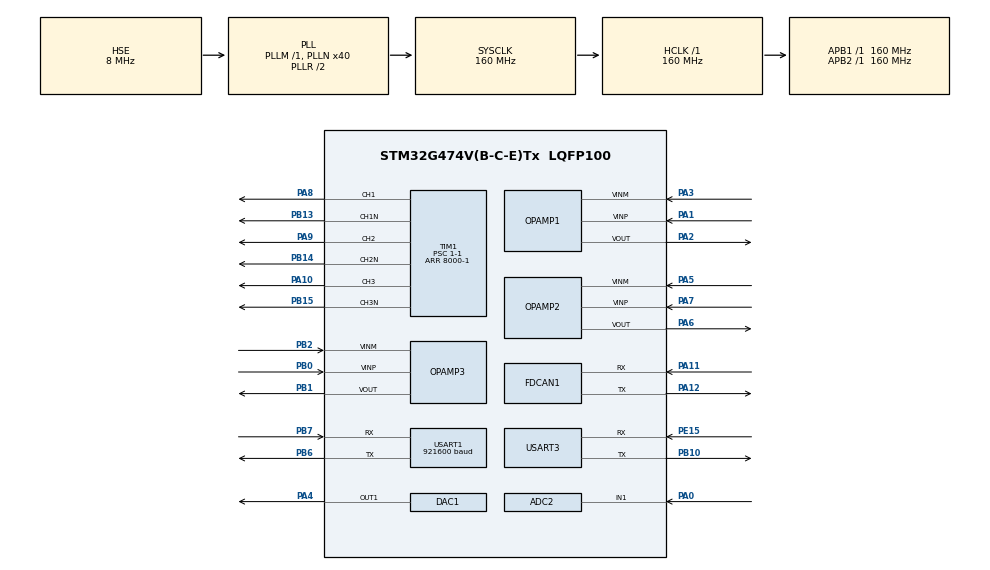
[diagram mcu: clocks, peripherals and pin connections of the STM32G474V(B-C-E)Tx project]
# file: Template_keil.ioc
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ADC1.Channel-0\#ChannelRegularConversion=ADC_CHANNEL_3
ADC1.ClockPrescaler=ADC_CLOCK_ASYNC_DIV4
ADC1.EnableInjectedConversion=ENABLE
ADC1.ExternalTrigInjecConv=ADC_EXTERNALTRIGINJEC_T1_CC4
ADC1.InjNumberOfConversion=2
ADC1.InjectedChannel-1\#ChannelInjectedConversion=ADC_CHANNEL_3
ADC1.InjectedChannel-2\#ChannelInjectedConversion=ADC_CHANNEL_12
ADC1.InjectedOffsetNumber-1\#ChannelInjectedConversion=ADC_OFFSET_NONE
ADC1.InjectedOffsetNumber-2\#ChannelInjectedConversion=ADC_OFFSET_NONE
ADC1.InjectedRank-1\#ChannelInjectedConversion=1
ADC1.InjectedRank-2\#ChannelInjectedConversion=2
ADC1.InjectedSamplingTime-1\#ChannelInjectedConversion=ADC_SAMPLETIME_6CYCLES_5
ADC1.InjectedSamplingTime-2\#ChannelInjectedConversion=ADC_SAMPLETIME_6CYCLES_5
ADC1.NbrOfConversionFlag=1
ADC1.OffsetNumber-0\#ChannelRegularConversion=ADC_OFFSET_NONE
ADC1.Rank-0\#ChannelRegularConversion=1
ADC1.SamplingTime-0\#ChannelRegularConversion=ADC_SAMPLETIME_2CYCLES_5
ADC1.master=1
ADC2.Channel-0\#ChannelRegularConversion=ADC_CHANNEL_1
ADC2.ClockPrescaler=ADC_CLOCK_ASYNC_DIV4
ADC2.EnableInjectedConversion=ENABLE
ADC2.ExternalTrigInjecConv=ADC_EXTERNALTRIGINJEC_T1_CC4
ADC2.InjNumberOfConversion=1
ADC2.InjectedChannel-1\#ChannelInjectedConversion=ADC_CHANNEL_3
ADC2.InjectedOffsetNumber-1\#ChannelInjectedConversion=ADC_OFFSET_NONE
ADC2.InjectedRank-1\#ChannelInjectedConversion=1
ADC2.InjectedSamplingTime-1\#ChannelInjectedConversion=ADC_SAMPLETIME_6CYCLES_5
ADC2.NbrOfConversionFlag=1
ADC2.OffsetNumber-0\#ChannelRegularConversion=ADC_OFFSET_NONE
ADC2.Rank-0\#ChannelRegularConversion=1
ADC2.SamplingTime-0\#ChannelRegularConversion=ADC_SAMPLETIME_2CYCLES_5
COMP1.TriggerMode=COMP_TRIGGERMODE_IT_RISING
Dma.Request0=USART1_TX
Dma.USART1_TX.0.Direction=DMA_MEMORY_TO_PERIPH
Dma.USART1_TX.0.EventEnable=DISABLE
Dma.USART1_TX.0.Instance=DMA1_Channel1
Dma.USART1_TX.0.MemDataAlignment=DMA_MDATAALIGN_BYTE
Dma.USART1_TX.0.MemInc=DMA_MINC_ENABLE
Dma.USART1_TX.0.Mode=DMA_NORMAL
Dma.USART1_TX.0.PeriphDataAlignment=DMA_PDATAALIGN_BYTE
Dma.USART1_TX.0.PeriphInc=DMA_PINC_DISABLE
Dma.USART1_TX.0.Polarity=HAL_DMAMUX_REQ_GEN_RISING
Dma.USART1_TX.0.Priority=DMA_PRIORITY_LOW
Dma.USART1_TX.0.RequestNumber=1
Dma.USART1_TX.0.SignalID=NONE
Dma.USART1_TX.0.SyncEnable=DISABLE
Dma.USART1_TX.0.SyncPolarity=HAL_DMAMUX_SYNC_NO_EVENT
Dma.USART1_TX.0.SyncRequestNumber=1
Dma.USART1_TX.0.SyncSignalID=NONE
FDCAN1.DataPrescaler=20
FDCAN1.DataTimeSeg1=10
FDCAN1.DataTimeSeg2=5
FDCAN1.ExtFiltersNbr=1
FDCAN1.NominalPrescaler=20
FDCAN1.NominalTimeSeg1=10
FDCAN1.NominalTimeSeg2=5
FDCAN1.StdFiltersNbr=1
Mcu.Family=STM32G4
Mcu.Name=STM32G474V(B-C-E)Tx
Mcu.Package=LQFP100
NVIC.ADC1_2_IRQn=true\:0\:0\:false\:false\:true\:true\:true
NVIC.COMP1_2_3_IRQn=true\:0\:0\:false\:false\:true\:false\:true
NVIC.DMA1_Channel1_IRQn=true\:0\:0\:false\:false\:true\:false\:true
NVIC.FDCAN1_IT0_IRQn=true\:0\:0\:false\:false\:true\:true\:true
NVIC.PriorityGroup=NVIC_PRIORITYGROUP_4
NVIC.TIM1_BRK_TIM15_IRQn=true\:0\:0\:false\:false\:true\:true\:true
NVIC.TIM1_CC_IRQn=true\:0\:0\:false\:false\:true\:true\:true
NVIC.TIM1_UP_TIM16_IRQn=true\:0\:0\:false\:false\:true\:true\:true
NVIC.USART1_IRQn=true\:0\:0\:false\:false\:true\:true\:true
NVIC.USART3_IRQn=true\:0\:0\:false\:false\:true\:true\:true
PA0.Mode=IN1-Single-Ended
PA0.Signal=ADC2_IN1
PA1.Mode=Standalone
PA1.Signal=OPAMP1_VINP
PA10.Signal=S_TIM1_CH3
PA11.Mode=FDCAN_Activate
PA11.Signal=FDCAN1_RX
PA12.Mode=FDCAN_Activate
PA12.Signal=FDCAN1_TX
PA13.Mode=Serial_Wire
PA13.Signal=SYS_JTMS-SWDIO
PA14.Mode=Serial_Wire
PA14.Signal=SYS_JTCK-SWCLK
PA2.Signal=SharedAnalog_PA2
PA3.Mode=Standalone
PA3.Signal=OPAMP1_VINM
PA4.Signal=COMP_DAC11_group
PA5.Mode=Standalone
PA5.Signal=OPAMP2_VINM
PA6.Signal=SharedAnalog_PA6
PA7.Mode=Standalone
PA7.Signal=OPAMP2_VINP
PA8.Signal=S_TIM1_CH1
PA9.Signal=S_TIM1_CH2
PB0.Mode=Standalone
PB0.Signal=OPAMP3_VINP
PB1.Signal=SharedAnalog_PB1
PB10.Mode=Asynchronous
PB10.Signal=USART3_TX
PB13.Mode=PWM Generation1 CH1 CH1N
PB13.Signal=TIM1_CH1N
PB14.Mode=PWM Generation2 CH2 CH2N
PB14.Signal=TIM1_CH2N
PB15.Mode=PWM Generation3 CH3 CH3N
PB15.Signal=TIM1_CH3N
PB2.Mode=Standalone
PB2.Signal=OPAMP3_VINM
PB6.Mode=Asynchronous
PB6.Signal=USART1_TX
PB7.Mode=Asynchronous
PB7.Signal=USART1_RX
PE15.Mode=Asynchronous
PE15.Signal=USART3_RX
PF0-OSC_IN.Mode=HSE-External-Oscillator
PF0-OSC_IN.Signal=RCC_OSC_IN
PF1-OSC_OUT.Mode=HSE-External-Oscillator
PF1-OSC_OUT.Signal=RCC_OSC_OUT
ProjectManager.HeapSize=0x200
ProjectManager.StackSize=0x400
ProjectManager.TargetToolchain=MDK-ARM V5.32
RCC.ADC12Freq_Value=160000000
RCC.ADC345Freq_Value=160000000
RCC.AHBFreq_Value=160000000
RCC.APB1Freq_Value=160000000
RCC.APB1TimFreq_Value=160000000
RCC.APB2Freq_Value=160000000
RCC.APB2TimFreq_Value=160000000
RCC.CortexFreq_Value=160000000
RCC.EXTERNAL_CLOCK_VALUE=12288000
RCC.HCLKFreq_Value=160000000
RCC.HSE_VALUE=8000000
RCC.HSI48_VALUE=48000000
RCC.HSI_VALUE=16000000
RCC.LSE_VALUE=32768
RCC.PLLN=40
RCC.PLLSourceVirtual=RCC_PLLSOURCE_HSE
RCC.SYSCLKFreq_VALUE=160000000
RCC.SYSCLKSource=RCC_SYSCLKSOURCE_PLLCLK
RCC.USBFreq_Value=160000000
RCC.VCOOutputFreq_Value=320000000
SH.COMP_DAC11_group.0=DAC1_OUT1,DAC_OUT1
SH.S_TIM1_CH1.0=TIM1_CH1,PWM Generation1 CH1 CH1N
SH.S_TIM1_CH2.0=TIM1_CH2,PWM Generation2 CH2 CH2N
SH.S_TIM1_CH3.0=TIM1_CH3,PWM Generation3 CH3 CH3N
SH.SharedAnalog_PA2.0=OPAMP1_VOUT,Standalone
SH.SharedAnalog_PA2.1=ADC1_IN3,IN3-Single-Ended
SH.SharedAnalog_PA6.0=OPAMP2_VOUT,Standalone
SH.SharedAnalog_PA6.1=ADC2_IN3,IN3-Single-Ended
SH.SharedAnalog_PB1.0=OPAMP3_VOUT,Standalone
SH.SharedAnalog_PB1.1=ADC1_IN12,IN12-Single-Ended
SH.SharedAnalog_PB1.2=COMP1_INP,INP
STMicroelectronics.X-CUBE-ALGOBUILD.1.3.0.LibraryCcDSPOoLibraryJjDSPOoLibrary=true
TIM1.BreakFilter=2
TIM1.BreakState=TIM_BREAK_ENABLE
TIM1.Channel-PWM\ Generation1\ CH1\ CH1N=TIM_CHANNEL_1
TIM1.Channel-PWM\ Generation2\ CH2\ CH2N=TIM_CHANNEL_2
TIM1.Channel-PWM\ Generation3\ CH3\ CH3N=TIM_CHANNEL_3
TIM1.Channel-PWM\ Generation4\ No\ Output=TIM_CHANNEL_4
TIM1.ClockDivision=TIM_CLOCKDIVISION_DIV2
TIM1.CounterMode=TIM_COUNTERMODE_CENTERALIGNED1
TIM1.DeadTime=120
TIM1.OCMode_PWM-PWM\ Generation4\ No\ Output=TIM_OCMODE_PWM2
TIM1.PeriodNoDither=8000-1
TIM1.Prescaler=1-1
TIM1.PulseNoDither_4=8000-2
TIM1.RepetitionCounter=1
TIM1.SourceBRKCOMP1=TIM_BREAKINPUTSOURCE_ENABLE
TIM1.TIM_MasterOutputTrigger=TIM_TRGO_OC4REF
USART1.BaudRate=921600
USART1.VirtualMode-Asynchronous=VM_ASYNC
USART3.VirtualMode-Asynchronous=VM_ASYNC
VP_COMP1_VS_DAC3OUT1.Mode=INM_DAC3OUT1
VP_DAC3_VS_DACI1.Mode=DAC_OUT1_Int
VP_STMicroelectronics.X-CUBE-ALGOBUILD_VS_DSPOoLibraryJjLibrary_1.3.0_1.3.0.Mode=DSPOoLibraryJjLibrary
VP_SYS_VS_DBSignals.Mode=DisableDeadBatterySignals
VP_TIM1_VS_ClockSourceINT.Mode=Internal
VP_TIM1_VS_no_output4.Mode=PWM Generation4 No Output
board=custom

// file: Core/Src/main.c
/* USER CODE BEGIN Header */
/**
  ******************************************************************************
  * @file           : main.c
  * @brief          : Main program body
  ******************************************************************************
  * @attention
  *
  * <h2><center>&copy; Copyright (c) 2024 STMicroelectronics.
  * All rights reserved.</center></h2>
  *
  * This software component is licensed by ST under BSD 3-Clause license,
  * the "License"; You may not use this file except in compliance with the
  * License. You may obtain a copy of the License at:
  *                        opensource.org/licenses/BSD-3-Clause
  *
  ******************************************************************************
  */
/* USER CODE END Header */
#include "main.h"
#include "adc.h"
#include "comp.h"
#include "dac.h"
#include "dma.h"
#include "fdcan.h"
#include "opamp.h"
#include "tim.h"
#include "usart.h"
#include "gpio.h"

/* USER CODE BEGIN Includes */
#include <stdio.h>
#include <string.h>
#include <stdlib.h>
#include "sys.h"
#include "delay.h"
//#include "AD2S1210.h"
//#include "DRV8301.h"
#include "currloop.h"

/* USER CODE END Includes */

/* USER CODE BEGIN PV */

/* AD2S1210 */
unsigned char buf[4] = {0, 0, 0, 0};
unsigned char error[4] = {0, 0, 0, 0};
float angle = 0;
unsigned short velocity0 = 0;
float velocity = 0;
//////////

#define PI					3.14159265358979f
#define PHASE_SHIFT_ANGLE (float)(120.0f/360.0f*2.0f*PI)

extern DMA_HandleTypeDef hdma_usart1_tx;

#define RXBUFFERSIZE  256
char RxBuffer[RXBUFFERSIZE];
uint8_t aRxBuffer;
uint8_t Uart1_Rx_Cnt = 0;

//float temp[1]; //Vbus
//static uint8_t tempData[8] = {0,0,0,0,0,0,0x80,0x7F}; //Vbus

//float temp[4]; //opamp, PWM
//static uint8_t tempData[20] = {0,0,0,0,0,0,0,0,0,0,0,0,0,0,0,0,0,0,0x80,0x7F}; //opamp, PWM

float load_data[7];
static uint8_t tempData[32] = {0,0,0,0,0,0,0,0,0,0,0,0,0,0,0,0,0,0,0,0,0,0,0,0,0,0,0,0,0,0,0x80,0x7F};

uint16_t DAC_temp = 0;

float Vbus,Ia,Ib,Ic;
uint8_t Motor_state = 0;
uint16_t IA_Offset,IB_Offset,IC_Offset;
uint16_t adc1_in1, adc1_in2, adc1_in3, Vpoten, adc_vbus;
uint8_t ADC_offset = 0;

FDCAN_RxHeaderTypeDef RxHeader;
FDCAN_TxHeaderTypeDef TxHeader;
uint8_t RxData[8]={NULL};
uint8_t TxData[8] = {NULL};
float CANtemp[1];

extern ExtU rtU;
extern ExtY rtY;

/* USER CODE END PV */

void SystemClock_Config(void);
/* USER CODE BEGIN PFP */
int fputc(int ch, FILE *f);
int fgetc(FILE *f);
void FDCAN_Config(void);

/* USER CODE END PFP */

int main(void)
{

  /* MCU Configuration--------------------------------------------------------*/

  /* Reset of all peripherals, Initializes the Flash interface and the Systick. */
  HAL_Init();

  /* Configure the system clock */
  SystemClock_Config();

  /* Initialize all configured peripherals */
  MX_GPIO_Init();
  MX_DMA_Init();
  MX_USART1_UART_Init();
  MX_ADC1_Init();
  MX_ADC2_Init();
  MX_OPAMP1_Init();
  MX_OPAMP2_Init();
  MX_OPAMP3_Init();
  MX_TIM1_Init();
  MX_COMP1_Init();
  MX_DAC3_Init();
  MX_DAC1_Init();
  MX_FDCAN1_Init();
  MX_USART3_UART_Init();
  /* USER CODE BEGIN 2 */
	delay_init(160);
//  HAL_GPIO_WritePin(EN_GATE_GPIO_Port, EN_GATE_Pin, GPIO_PIN_SET);//高电平

	/* AD2S1210 */
//	AD2S1210Initiate(); // 上电时序控制和复位
//
//  CLR_SOE();
//  SET_RD(); // 串口通信需将RD拉高
//
//	AD2S1210SelectMode(CONFIG); // 进入配置模式，对寄存器进行编程，以设置AD2S1210的激励频率、分辨率和故障检测阈值
//
//	/* 检查读写功能是否正常 */
//  WriteToAD2S1210(CONTROL, 0x7A); //默认0x7E
//  ReadFromAD2S1210(CONFIG, CONTROL, buf);

	/* DRV8301 */
//  DRV8301Cfg cfg = {
//			.GATE_CURRENT = CURRENT0_7A,//","
//			.GATE_RESET = GATE_RST_NORMAL,
//			.PWM_MODE = PHASE6PWM,
//			.OCP_MODE = OCLATCHSTDOWN,
//			.OC_ADJ_SET = 18,
//			.OCTW_MODE = OCOTBOTH,
//			.GAINVALUE = GAIN10,
//			.DC_CAL_CH1 = CONNECTLOADPH1,
//			.DC_CAL_CH2 = CONNECTLOADPH2,
//			.OC_TOFF = CYCLEBYCYCLE//没有","
//	};
//	spi3init();
//	//delay_ms(30000);
//	DRV8301Init(cfg);
//	uint16_t id = DRV8301IDread();
//	printf("ID = %d\r\n", id);

	/* Vbus */
//	HAL_UART_Receive_IT(&huart1, (uint8_t *)&aRxBuffer, 1);
//	HAL_ADCEx_Calibration_Start( &hadc1, ADC_SINGLE_ENDED);
//	HAL_ADCEx_Calibration_Start( &hadc2, ADC_SINGLE_ENDED);

  /* opamp */
	HAL_OPAMP_Start(&hopamp1);
	HAL_OPAMP_Start(&hopamp2);
	HAL_OPAMP_Start(&hopamp3);
//	HAL_UART_Receive_IT(&huart1, (uint8_t *)&aRxBuffer, 1); //?
	HAL_ADCEx_Calibration_Start( &hadc1, ADC_SINGLE_ENDED);
	HAL_ADCEx_Calibration_Start( &hadc2, ADC_SINGLE_ENDED);
	__HAL_ADC_CLEAR_FLAG( &hadc1, ADC_FLAG_JEOC);
	__HAL_ADC_CLEAR_FLAG( &hadc1, ADC_FLAG_EOC);
	__HAL_ADC_CLEAR_FLAG( &hadc2, ADC_FLAG_JEOC);
		HAL_ADCEx_InjectedStart_IT(&hadc1);
	HAL_ADCEx_InjectedStart(&hadc2);

	/* PWM */
//	TIM1->PSC = 30000;
//	TIM1->ARR = 10000;
//	TIM1->CCR1 = 2000;
//	TIM1->CCR2 = 5000;
//	TIM1->CCR3 = 8000;

	/* comp */
//	TIM1->PSC = 30000;
	TIM1->ARR = 8000 - 1;
	TIM1->CCR4 = 8000 - 2;
//	TIM1->CCR1 = 2000;
//	TIM1->CCR2 = 4000;
//	TIM1->CCR3 = 6000;

	HAL_TIM_Base_Start( &htim1);
	HAL_TIM_PWM_Start( &htim1, TIM_CHANNEL_4);

  rtU.Motor_OnOff = 1;
	HAL_TIM_PWM_Start( &htim1, TIM_CHANNEL_1);
	HAL_TIM_PWM_Start( &htim1, TIM_CHANNEL_2);
	HAL_TIM_PWM_Start( &htim1, TIM_CHANNEL_3);
	HAL_TIMEx_PWMN_Start( &htim1, TIM_CHANNEL_1);
	HAL_TIMEx_PWMN_Start( &htim1, TIM_CHANNEL_2);
	HAL_TIMEx_PWMN_Start( &htim1, TIM_CHANNEL_3);

//	HAL_DAC_Start(&hdac3,DAC_CHANNEL_1);
//	HAL_DAC_Start(&hdac1,DAC_CHANNEL_1);
//	HAL_DAC_SetValue(&hdac3,DAC_CHANNEL_1,DAC_ALIGN_12B_R,3000);
//	HAL_COMP_Start (&hcomp1);

	/* can */
//	FDCAN_Config();

  /* USER CODE END 2 */

  /* Infinite loop */
  while (1)
  {

    /* USER CODE BEGIN 3 */

		/* AD2S1210 */
//    AD2S1210SelectMode(POSITION);
//    ReadFromAD2S1210(POSITION, POS_VEL, buf); // read data register
//    angle = ((buf[2] << 8) | buf[1]) >> 4;
//    angle = angle * 360 / 4095;
//    printf("degree: %f\n", angle);
//    printf("error: %X\n", buf[0]);

//    AD2S1210SelectMode(VELOCITY);              // Normal Mode velocity output
//    ReadFromAD2S1210(VELOCITY, POS_VEL, buf);  // read data register
//    velocity0 = ((buf[2] << 8) | buf[1]) >> 4; // 12位补码
//    if ((velocity0 & 0x800) >> 11)
//    {
//      if (velocity0 == 0xFFF)
//      {
//        printf("rps: 0.000000\n");
//        printf("error: %X\n", buf[0]);
//      }
//      else
//      {
//        // velocity = (~(velocity0 & 0x7FF))& 0x7FF;
//        // velocity = velocity*1000/2048;

//        velocity = 4096 - velocity0; // 原码
//        velocity = velocity * 1000 / 2048;

//        printf("rps:minus %f\n", velocity);
//        printf("error: %X\n", buf[0]);
//      }
//    }
//    else
//    {
//      velocity = velocity0;
//      velocity = velocity * 1000 / 2048;
//      printf("rps: %f\n", velocity);
//      printf("error: %X\n", buf[0]);
//    }
//    delay_ms(100);

    /* PWM */
		if((GPIOA->IDR & GPIO_PIN_8) != 0)
		{
			load_data[0] = 1.0f;
		}
		else
		{
			load_data[0] = 0.0f;
		}
		if((GPIOA->IDR & GPIO_PIN_9) != 0)
		{
			load_data[1] = 3.0f;
		}
		else
		{
			load_data[1] = 2.0f;
		}
		if((GPIOA->IDR & GPIO_PIN_10) != 0)
		{
			load_data[2] = 5.0f;
		}
		else
		{
			load_data[2] = 4.0f;
		}

		/* Vbus */
		HAL_ADC_Start(&hadc1);
		HAL_ADC_Start(&hadc2);
		adc_vbus = HAL_ADC_GetValue(&hadc2);
		rtU.v_bus = adc_vbus*3.3f/4096*26;

		Vbus = adc_vbus*3.3f/4096*26;
    load_data[3] = Vbus;
//		memcpy(tempData, (uint8_t *)&load_data, sizeof(load_data));
//		HAL_UART_Transmit_DMA(&huart1,(uint8_t *)tempData,24);
		HAL_Delay(10);

		/* opamp */
//		HAL_ADC_Start(&hadc1);
//		HAL_ADCEx_InjectedStart_IT(&hadc1);
//		HAL_ADCEx_InjectedStart_IT(&hadc2);
//		temp[0] = HAL_ADC_GetValue(&hadc1);
//		temp[0] = temp[0]*3.3f/4096;
//		memcpy(tempData, (uint8_t *)&temp, sizeof(temp));
//		HAL_UART_Transmit_DMA(&huart1,(uint8_t *)tempData,5*4);
//		HAL_Delay(1);

		/* usart 注意，调试此部分时,容易将后续程序卡住 (HAL_MAX_DELAY)*/
//    HAL_UART_Transmit_DMA(&huart1,DataB1,sizeof(DataB1));
//    HAL_UART_Receive(&huart1, (uint8_t *)&ch, 1, HAL_MAX_DELAY);
//    printf("%d\r\n",ch);

		/* can */
//		HAL_FDCAN_AddMessageToTxFifoQ(&hfdcan1, &TxHeader, TxData);

//		HAL_Delay(10);
  }
  /* USER CODE END 3 */
}

void SystemClock_Config(void)
{
  RCC_OscInitTypeDef RCC_OscInitStruct = {0};
  RCC_ClkInitTypeDef RCC_ClkInitStruct = {0};
  RCC_PeriphCLKInitTypeDef PeriphClkInit = {0};

  /** Configure the main internal regulator output voltage
  */
  HAL_PWREx_ControlVoltageScaling(PWR_REGULATOR_VOLTAGE_SCALE1_BOOST);
  /** Initializes the RCC Oscillators according to the specified parameters
  * in the RCC_OscInitTypeDef structure.
  */
  RCC_OscInitStruct.OscillatorType = RCC_OSCILLATORTYPE_HSE;
  RCC_OscInitStruct.HSEState = RCC_HSE_ON;
  RCC_OscInitStruct.PLL.PLLState = RCC_PLL_ON;
  RCC_OscInitStruct.PLL.PLLSource = RCC_PLLSOURCE_HSE;
  RCC_OscInitStruct.PLL.PLLM = RCC_PLLM_DIV1;
  RCC_OscInitStruct.PLL.PLLN = 40;
  RCC_OscInitStruct.PLL.PLLP = RCC_PLLP_DIV2;
  RCC_OscInitStruct.PLL.PLLQ = RCC_PLLQ_DIV2;
  RCC_OscInitStruct.PLL.PLLR = RCC_PLLR_DIV2;
  if (HAL_RCC_OscConfig(&RCC_OscInitStruct) != HAL_OK)
  {
    Error_Handler();
  }
  /** Initializes the CPU, AHB and APB buses clocks
  */
  RCC_ClkInitStruct.ClockType = RCC_CLOCKTYPE_HCLK|RCC_CLOCKTYPE_SYSCLK
                              |RCC_CLOCKTYPE_PCLK1|RCC_CLOCKTYPE_PCLK2;
  RCC_ClkInitStruct.SYSCLKSource = RCC_SYSCLKSOURCE_PLLCLK;
  RCC_ClkInitStruct.AHBCLKDivider = RCC_SYSCLK_DIV1;
  RCC_ClkInitStruct.APB1CLKDivider = RCC_HCLK_DIV1;
  RCC_ClkInitStruct.APB2CLKDivider = RCC_HCLK_DIV1;

  if (HAL_RCC_ClockConfig(&RCC_ClkInitStruct, FLASH_LATENCY_4) != HAL_OK)
  {
    Error_Handler();
  }
  /** Initializes the peripherals clocks
  */
  PeriphClkInit.PeriphClockSelection = RCC_PERIPHCLK_USART1|RCC_PERIPHCLK_USART3
                              |RCC_PERIPHCLK_ADC12|RCC_PERIPHCLK_FDCAN;
  PeriphClkInit.Usart1ClockSelection = RCC_USART1CLKSOURCE_PCLK2;
  PeriphClkInit.Usart3ClockSelection = RCC_USART3CLKSOURCE_PCLK1;
  PeriphClkInit.FdcanClockSelection = RCC_FDCANCLKSOURCE_PCLK1;
  PeriphClkInit.Adc12ClockSelection = RCC_ADC12CLKSOURCE_SYSCLK;
  if (HAL_RCCEx_PeriphCLKConfig(&PeriphClkInit) != HAL_OK)
  {
    Error_Handler();
  }
}

/* USER CODE BEGIN 4 */

int fputc(int ch, FILE *f)
{
  HAL_UART_Transmit(&huart1, (uint8_t *)&ch, 1, HAL_MAX_DELAY);
  return ch;
}

int fgetc(FILE *f)
{
  uint8_t ch;
  HAL_UART_Receive(&huart1, (uint8_t *)&ch, 1, HAL_MAX_DELAY);
  return ch;
}

void HAL_ADCEx_InjectedConvCpltCallback(ADC_HandleTypeDef *hadc)
{
	static uint8_t cnt;
	static uint16_t obsever_cnt;
  /* Prevent unused argument(s) compilation warning */
  UNUSED(hadc);
	if(hadc == &hadc1)
	{
		if(ADC_offset == 0)
		{
			cnt++;
			adc1_in1 = hadc1.Instance->JDR1;
			adc1_in2 = hadc2.Instance->JDR1;
			adc1_in3 = hadc1.Instance->JDR2;
			IA_Offset += adc1_in1;
			IB_Offset += adc1_in2;
			IC_Offset += adc1_in3;
			if(cnt >= 10)
			{
				ADC_offset = 1;
				IA_Offset = IA_Offset/10;
				IB_Offset = IB_Offset/10;
				IC_Offset = IC_Offset/10;
			}
		}
		else
		{
			adc1_in1 = hadc1.Instance->JDR1;
			adc1_in3 = hadc1.Instance->JDR2;
			adc1_in2 = hadc2.Instance->JDR1;

			rtU.ia = (adc1_in1 - IA_Offset)*0.10986328125f;// 控制板V2.1的ADC到电流换算增益为0.10986328125
			rtU.ib = (adc1_in2 - IB_Offset)*0.10986328125f;
			rtU.ic = (adc1_in3 - IC_Offset)*0.10986328125f;
			currloop_step();

			TIM1->CCR1 = rtY.tABC[0];
			TIM1->CCR2 = rtY.tABC[1];
			TIM1->CCR3 = rtY.tABC[2];

//			adc1_in1 = hadc1.Instance->JDR1;
//			Ia = (adc1_in1 - IA_Offset)*0.0193359375f;
//			adc1_in2 = hadc2.Instance->JDR1;
//			Ib = (adc1_in2 - IB_Offset)*0.0193359375f;
//			adc1_in3 = hadc1.Instance->JDR2;
//			Ic = (adc1_in3 - IC_Offset)*0.0193359375f;
//			TIM1->CCR1 = 2000;
//			TIM1->CCR2 = 4000;
//			TIM1->CCR3 = 6000;

			load_data[4] = rtU.ia;
			load_data[5] = rtU.ib;
			load_data[6] = rtU.ic;

			memcpy(tempData, (uint8_t *)&load_data, sizeof(load_data));
			HAL_UART_Transmit_DMA(&huart1,(uint8_t *)tempData,8*4);
		}
	}
  /* NOTE : This function should not be modified. When the callback is needed,
            function HAL_ADCEx_InjectedConvCpltCallback must be implemented in the user file.
  */
}

void FDCAN_Config(void)
{
  FDCAN_FilterTypeDef sFilterConfig;

  HAL_FDCAN_ActivateNotification(&hfdcan1, FDCAN_IT_RX_FIFO0_NEW_MESSAGE, 0);

  sFilterConfig.IdType = FDCAN_EXTENDED_ID;
  sFilterConfig.FilterIndex = 0;
  sFilterConfig.FilterType = FDCAN_FILTER_RANGE;
  sFilterConfig.FilterConfig = FDCAN_FILTER_TO_RXFIFO0;
  sFilterConfig.FilterID1 = 0x00000000;
  sFilterConfig.FilterID2 = 0x01ffffff;
  HAL_FDCAN_ConfigFilter(&hfdcan1, &sFilterConfig);

  TxHeader.Identifier = 0x1B;
  TxHeader.IdType = FDCAN_EXTENDED_ID;
  TxHeader.TxFrameType = FDCAN_DATA_FRAME;
  TxHeader.DataLength = FDCAN_DLC_BYTES_8;
  TxHeader.ErrorStateIndicator = FDCAN_ESI_ACTIVE;
  TxHeader.BitRateSwitch = FDCAN_BRS_OFF;
  TxHeader.FDFormat = FDCAN_CLASSIC_CAN;
  TxHeader.TxEventFifoControl = FDCAN_NO_TX_EVENTS;
  TxHeader.MessageMarker = 0x52;

  HAL_FDCAN_Start(&hfdcan1);
}

/* USER CODE END 4 */

void Error_Handler(void)
{
  __disable_irq();
  while (1)
  {
  }
}

/************************ (C) COPYRIGHT STMicroelectronics *****END OF FILE****/
